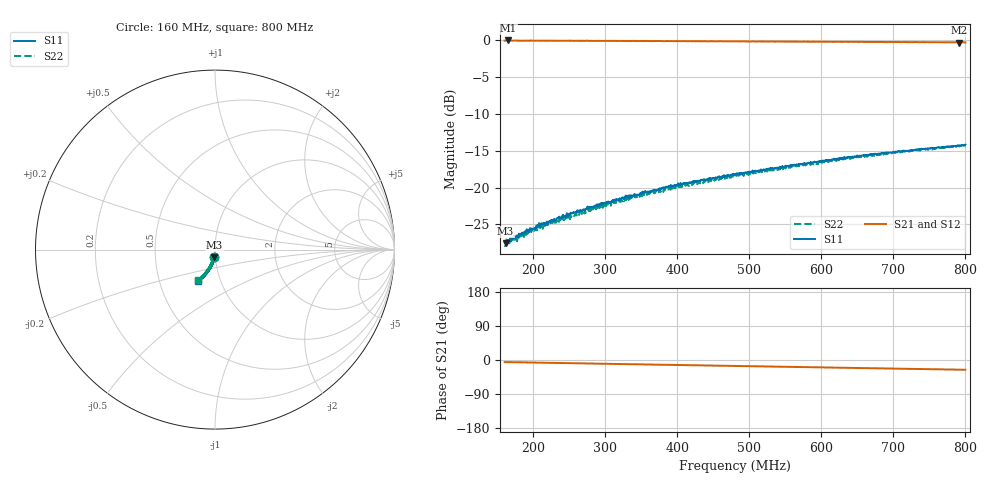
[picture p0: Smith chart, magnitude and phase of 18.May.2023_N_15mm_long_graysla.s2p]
!Keysight Technologies N9950B: A.12.38
!Date: Thursday, 18 May 2023 17:18:06
!Timezone: (UTC-06:00) Central Time (US & Canada)
!Model: N9950B
!Serial: MY61131330
!GPS Latitude:
!GPS Longitude:
!GPS TimeStamp: 0001-01-01 00:00:00Z
!GPS Seconds Since Last Read: 0
!CHECKSUM:0261313654
!Correction: S11(ON U)S21(ON U)S12(ON U)S22(ON U)
!S2P File: Measurements:S11,S21,S12,S22:
# Hz S DB R 50
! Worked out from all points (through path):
!   1001 points, 160 MHz to 800 MHz, reference 50 ohm
!   highest |S21| = -0.02 dB at 165.1 MHz (marker M1); lowest = -0.3 dB at 791.7 MHz (marker M2)
!   group delay of S21, straight-line fit = 88.2 ps
!   lowest |S11| = -27.6 dB at 161.3 MHz (marker M3), VSWR 1.09, Z = 49.5 - j4.14 ohm
!   |S11| at or under -10 dB: start of sweep to end of sweep
!   |S22| runs from -28.0 to -14.3 dB; largest |S21 - S12| = 0.006
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1.6e8  -27.41 -98.4  -0.05 -5.5  -0.05 -5.5  -27.89 -101.2
1.6128e8  -27.57 -94.4  -0.04 -5.4  -0.06 -5.4  -27.85 -97.3
1.6512e8  -27.28 -95.0  -0.02 -5.6  -0.04 -5.6  -27.69 -98.3
1.7152e8  -26.86 -97.8  -0.04 -5.8  -0.05 -5.8  -27.27 -100.1
1.8752e8  -26.03 -99.2  -0.04 -6.4  -0.06 -6.3  -26.25 -97.7
1.9584e8  -25.60 -95.8  -0.04 -6.6  -0.05 -6.7  -25.97 -98.3
2.016e8  -25.48 -97.0  -0.04 -6.8  -0.05 -6.7  -25.71 -102.0
2.0864e8  -25.05 -98.5  -0.06 -7.0  -0.07 -6.9  -25.41 -100.3
2.2592e8  -24.55 -99.6  -0.04 -7.5  -0.07 -7.7  -24.80 -100.6
2.3488e8  -24.04 -97.4  -0.06 -7.8  -0.06 -7.9  -24.61 -101.3
2.6688e8  -23.16 -100.1  -0.06 -8.9  -0.07 -8.9  -23.41 -102.6
3.0336e8  -22.03 -99.8  -0.07 -10.0  -0.10 -10.1  -22.28 -103.0
3.2896e8  -21.31 -101.3  -0.10 -10.9  -0.09 -10.9  -21.72 -104.7
3.4496e8  -20.97 -102.5  -0.10 -11.4  -0.12 -11.4  -21.21 -104.8
3.5392e8  -20.63 -103.5  -0.08 -11.7  -0.11 -11.8  -20.96 -105.5
3.7376e8  -20.26 -104.3  -0.10 -12.2  -0.11 -12.4  -20.59 -106.7
3.8784e8  -19.77 -105.1  -0.11 -12.8  -0.11 -12.8  -20.18 -106.8
4.8e8  -18.23 -107.4  -0.13 -15.8  -0.15 -15.8  -18.52 -109.4
5.8688e8  -16.62 -111.2  -0.19 -19.1  -0.19 -19.2  -16.82 -112.7
6.9376e8  -15.27 -114.8  -0.25 -22.6  -0.24 -22.5  -15.37 -115.6
7.9168e8  -14.32 -117.6  -0.30 -25.4  -0.28 -25.5  -14.42 -118.6
8e8  -14.17 -118.1  -0.28 -25.7  -0.28 -25.7  -14.27 -118.7
